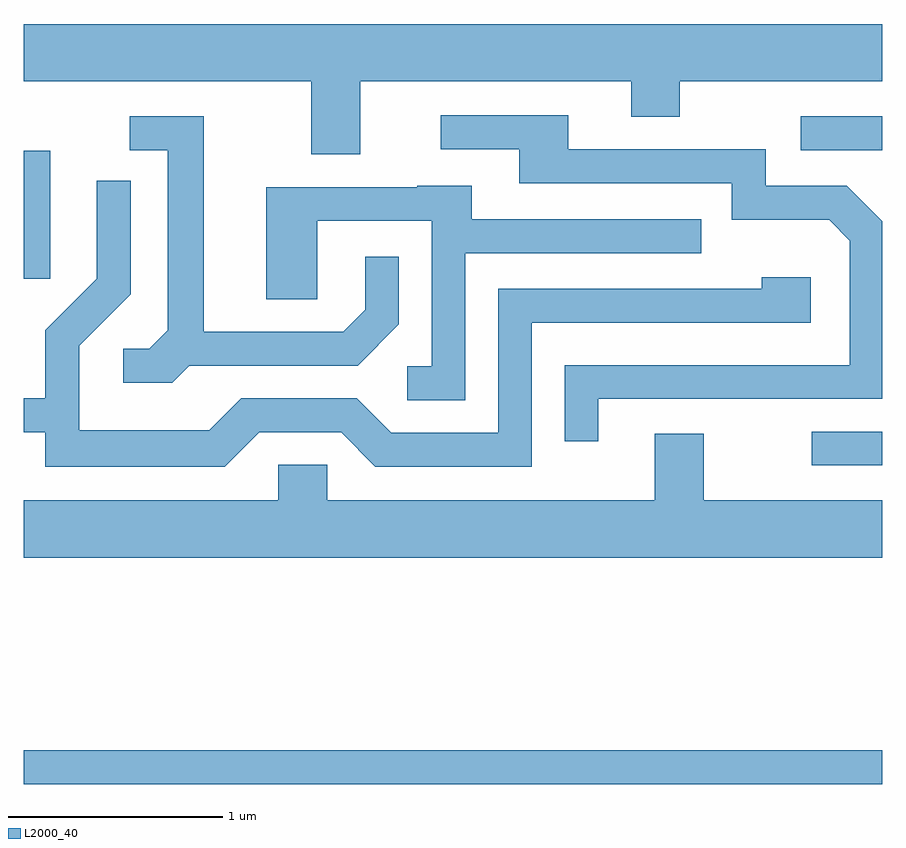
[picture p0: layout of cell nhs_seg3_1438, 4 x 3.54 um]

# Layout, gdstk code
import gdstk
lib = gdstk.Library(unit=1e-6, precision=1e-09)
def R(c, l, rs):  # rectangles x0, y0, x1, y1
    for r in rs: c.add(gdstk.rectangle(r[:2], r[2:], *l))
def P(c, l, *ps):  # polygons
    for p in ps: c.add(gdstk.Polygon(p, *l))
L2000_40 = (2000, 40)

nhs_seg3_1438 = lib.new_cell('nhs_seg3_1438')
R(nhs_seg3_1438, L2000_40, [(227.611,1136.061,231.611,1136.219), (231.283,1137.546,231.611,1137.704), (227.611,1138.416,227.734,1139.014), (231.233,1139.016,231.611,1139.174)])
P(nhs_seg3_1438, L2000_40, [(229.179,1139.336),(230.441,1139.336),(230.441,1139.171),(230.669,1139.171),(230.669,1139.336),(231.611,1139.336),(231.611,1139.604),(227.611,1139.604),(227.611,1139.336),(228.951,1139.336),(228.951,1138.996),(229.179,1138.996)],
  [(230.289,1137.856),(231.611,1137.856),(231.611,1138.685),(231.447,1138.849),(231.069,1138.849),(231.069,1139.019),(230.149,1139.019),(230.149,1139.179),(229.553,1139.179),(229.553,1139.021),(229.921,1139.021),(229.921,1138.861),(230.911,1138.861),(230.911,1138.691),(231.364,1138.691),(231.461,1138.594),(231.461,1138.014),(230.131,1138.014),(230.131,1137.658),(230.289,1137.658)],
  [(228.382,1138.011),(229.167,1138.011),(229.359,1138.204),(229.359,1138.518),(229.201,1138.518),(229.201,1138.272),(229.099,1138.169),(228.449,1138.169),(228.449,1139.174),(228.103,1139.174),(228.103,1139.016),(228.281,1139.016),(228.281,1138.177),(228.194,1138.089),(228.073,1138.089),(228.073,1137.931),(228.302,1137.931)],
  [(228.707,1137.701),(229.089,1137.701),(229.249,1137.541),(229.979,1137.541),(229.979,1138.211),(231.279,1138.211),(231.279,1138.424),(231.051,1138.424),(231.051,1138.369),(229.821,1138.369),(229.821,1137.699),(229.322,1137.699),(229.162,1137.859),(228.624,1137.859),(228.474,1137.709),(227.869,1137.709),(227.869,1138.104),(228.109,1138.344),(228.109,1138.873),(227.951,1138.873),(227.951,1138.417),(227.711,1138.177),(227.711,1137.859),(227.611,1137.859),(227.611,1137.701),(227.711,1137.701),(227.711,1137.541),(228.547,1137.541)],
  [(229.669,1138.536),(230.768,1138.536),(230.768,1138.694),(229.699,1138.694),(229.699,1138.849),(229.445,1138.849),(229.445,1138.844),(228.741,1138.844),(228.741,1138.321),(228.979,1138.321),(228.979,1138.686),(229.511,1138.686),(229.511,1138.009),(229.398,1138.009),(229.398,1137.851),(229.669,1137.851)],
  [(231.611,1137.384),(230.779,1137.384),(230.779,1137.694),(230.551,1137.694),(230.551,1137.384),(229.024,1137.384),(229.024,1137.549),(228.796,1137.549),(228.796,1137.384),(227.611,1137.384),(227.611,1137.116),(231.611,1137.116)])

lib.write_gds('nhs_seg3_1438.gds')
